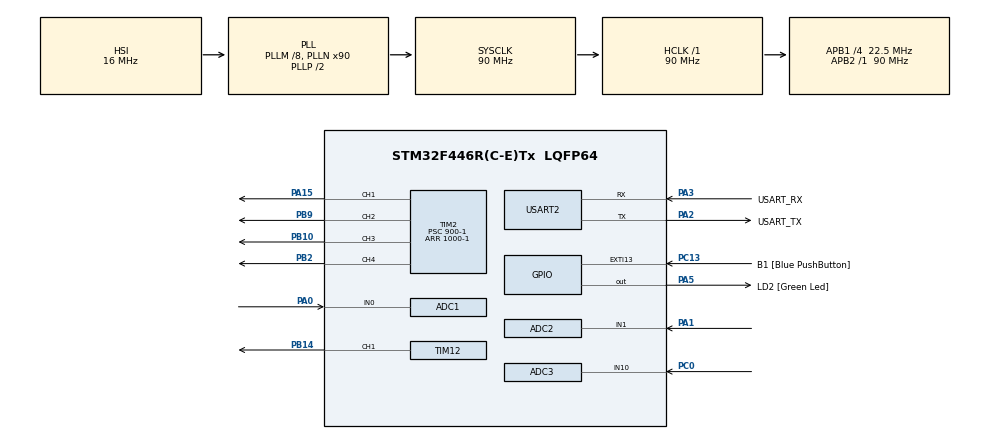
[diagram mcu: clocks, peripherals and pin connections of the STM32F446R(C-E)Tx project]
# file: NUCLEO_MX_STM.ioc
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ADC1.Channel-0\#ChannelRegularConversion=ADC_CHANNEL_0
ADC1.ClockPrescaler=ADC_CLOCK_SYNC_PCLK_DIV4
ADC1.NbrOfConversionFlag=1
ADC1.Rank-0\#ChannelRegularConversion=1
ADC1.SamplingTime-0\#ChannelRegularConversion=ADC_SAMPLETIME_3CYCLES
ADC1.master=1
ADC2.Channel-0\#ChannelRegularConversion=ADC_CHANNEL_1
ADC2.ClockPrescaler=ADC_CLOCK_SYNC_PCLK_DIV4
ADC2.NbrOfConversionFlag=1
ADC2.Rank-0\#ChannelRegularConversion=1
ADC2.SamplingTime-0\#ChannelRegularConversion=ADC_SAMPLETIME_3CYCLES
ADC3.Channel-0\#ChannelRegularConversion=ADC_CHANNEL_10
ADC3.ClockPrescaler=ADC_CLOCK_SYNC_PCLK_DIV4
ADC3.NbrOfConversionFlag=1
ADC3.Rank-0\#ChannelRegularConversion=1
ADC3.SamplingTime-0\#ChannelRegularConversion=ADC_SAMPLETIME_3CYCLES
Mcu.Family=STM32F4
Mcu.Name=STM32F446R(C-E)Tx
Mcu.Package=LQFP64
NVIC.ADC_IRQn=true\:0\:0\:false\:false\:true\:true\:true\:true
NVIC.PriorityGroup=NVIC_PRIORITYGROUP_0
NVIC.TIM1_TRG_COM_TIM11_IRQn=true\:0\:0\:false\:false\:true\:true\:true\:true
NVIC.TIM1_UP_TIM10_IRQn=true\:0\:0\:false\:false\:true\:true\:true\:true
NVIC.TIM2_IRQn=true\:0\:1\:false\:false\:true\:true\:true\:true
NVIC.TIM8_BRK_TIM12_IRQn=true\:0\:1\:false\:false\:true\:true\:true\:true
NVIC.TIM8_TRG_COM_TIM14_IRQn=true\:0\:0\:false\:false\:true\:true\:true\:true
NVIC.TIM8_UP_TIM13_IRQn=true\:0\:0\:false\:false\:true\:true\:true\:true
NVIC.USART2_IRQn=true\:0\:0\:false\:false\:true\:true\:true\:true
PA0-WKUP.Signal=ADCx_IN0
PA1.Signal=ADCx_IN1
PA13.GPIO_Label=TMS
PA13.Mode=Serial_Wire
PA13.Signal=SYS_JTMS-SWDIO
PA14.GPIO_Label=TCK
PA14.Mode=Serial_Wire
PA14.Signal=SYS_JTCK-SWCLK
PA15.Signal=S_TIM2_CH1_ETR
PA2.GPIO_Label=USART_TX
PA2.Mode=Asynchronous
PA2.Signal=USART2_TX
PA3.GPIO_Label=USART_RX
PA3.Mode=Asynchronous
PA3.Signal=USART2_RX
PA5.GPIO_Label=LD2 [Green Led]
PA5.Signal=GPIO_Output
PB10.Signal=S_TIM2_CH3
PB14.Signal=S_TIM12_CH1
PB2.Signal=S_TIM2_CH4
PB3.GPIO_Label=SWO
PB3.Signal=SYS_JTDO-SWO
PB9.Signal=S_TIM2_CH2
PC0.Signal=ADCx_IN10
PC13.GPIO_Label=B1 [Blue PushButton]
PC13.GPIO_ModeDefaultEXTI=GPIO_MODE_IT_FALLING
PC13.Signal=GPXTI13
PC14-OSC32_IN.Mode=LSE-External-Oscillator
PC14-OSC32_IN.Signal=RCC_OSC32_IN
PC15-OSC32_OUT.Mode=LSE-External-Oscillator
PC15-OSC32_OUT.Signal=RCC_OSC32_OUT
PH0-OSC_IN.Mode=HSE-External-Oscillator
PH0-OSC_IN.Signal=RCC_OSC_IN
PH1-OSC_OUT.Mode=HSE-External-Oscillator
PH1-OSC_OUT.Signal=RCC_OSC_OUT
ProjectManager.HeapSize=0x800
ProjectManager.StackSize=0x800
ProjectManager.TargetToolchain=STM32CubeIDE
RCC.AHBFreq_Value=90000000
RCC.APB1CLKDivider=RCC_HCLK_DIV4
RCC.APB1Freq_Value=22500000
RCC.APB1TimFreq_Value=45000000
RCC.APB2Freq_Value=90000000
RCC.APB2TimFreq_Value=90000000
RCC.CortexFreq_Value=90000000
RCC.FLatency-AdvancedSettings=FLASH_LATENCY_2
RCC.HCLKFreq_Value=90000000
RCC.HSE_VALUE=8000000
RCC.HSI_VALUE=16000000
RCC.PLLM=8
RCC.PLLN=90
RCC.SYSCLKFreq_VALUE=90000000
RCC.SYSCLKSource=RCC_SYSCLKSOURCE_PLLCLK
RCC.USBFreq_Value=90000000
RCC.VCOOutputFreq_Value=180000000
SH.ADCx_IN0.0=ADC1_IN0,IN0
SH.ADCx_IN1.0=ADC2_IN1,IN1
SH.ADCx_IN10.0=ADC3_IN10,IN10
SH.S_TIM12_CH1.0=TIM12_CH1,PWM Generation1 CH1
SH.S_TIM2_CH1_ETR.0=TIM2_CH1,PWM Generation1 CH1
SH.S_TIM2_CH2.0=TIM2_CH2,PWM Generation2 CH2
SH.S_TIM2_CH3.0=TIM2_CH3,PWM Generation3 CH3
SH.S_TIM2_CH4.0=TIM2_CH4,PWM Generation4 CH4
STMicroelectronics.X-CUBE-AI.8.0.1.ActivationBufferSizeList=44
STMicroelectronics.X-CUBE-AI.8.0.1.ActivationBuffers=pool0
STMicroelectronics.X-CUBE-AI.8.0.1.ActivationNames=pool0
STMicroelectronics.X-CUBE-AI.8.0.1.ActivationSizes=AI_NETWORK_DATA_ACTIVATION_1_SIZE
STMicroelectronics.X-CUBE-AI.8.0.1.HeapSize=0x800
STMicroelectronics.X-CUBE-AI.8.0.1.InternalRamActivationBufferMaxSize=AI_NETWORK_DATA_ACTIVATIONS_SIZE
STMicroelectronics.X-CUBE-AI.8.0.1.LatestDirectoryUsed-1d784fe00bc8c9b778a078fc7641ee5ba486a1559fe29472954857f1d0981ca2=F\:\\Graduation Project\\Model
STMicroelectronics.X-CUBE-AI.8.0.1.MaximumNumberOfInputLayer=1
STMicroelectronics.X-CUBE-AI.8.0.1.MaximumNumberOfOutputLayer=1
STMicroelectronics.X-CUBE-AI.8.0.1.MaximumSizeOfInputLayer=1
STMicroelectronics.X-CUBE-AI.8.0.1.MaximumSizeOfOutputLayer=1
STMicroelectronics.X-CUBE-AI.8.0.1.ModelActualCompression-1d784fe00bc8c9b778a078fc7641ee5ba486a1559fe29472954857f1d0981ca2=0.0
STMicroelectronics.X-CUBE-AI.8.0.1.ModelCompression-1d784fe00bc8c9b778a078fc7641ee5ba486a1559fe29472954857f1d0981ca2=None
STMicroelectronics.X-CUBE-AI.8.0.1.ModelFlashOccupation-1d784fe00bc8c9b778a078fc7641ee5ba486a1559fe29472954857f1d0981ca2=30884
STMicroelectronics.X-CUBE-AI.8.0.1.ModelHashList=1d784fe00bc8c9b778a078fc7641ee5ba486a1559fe29472954857f1d0981ca2
STMicroelectronics.X-CUBE-AI.8.0.1.ModelKind-1d784fe00bc8c9b778a078fc7641ee5ba486a1559fe29472954857f1d0981ca2=KERAS
STMicroelectronics.X-CUBE-AI.8.0.1.ModelMacc-1d784fe00bc8c9b778a078fc7641ee5ba486a1559fe29472954857f1d0981ca2=56
STMicroelectronics.X-CUBE-AI.8.0.1.ModelName-1d784fe00bc8c9b778a078fc7641ee5ba486a1559fe29472954857f1d0981ca2=network
STMicroelectronics.X-CUBE-AI.8.0.1.ModelNameList=network
STMicroelectronics.X-CUBE-AI.8.0.1.ModelRamOccupation-1d784fe00bc8c9b778a078fc7641ee5ba486a1559fe29472954857f1d0981ca2=44
STMicroelectronics.X-CUBE-AI.8.0.1.ModelStructureFile-1d784fe00bc8c9b778a078fc7641ee5ba486a1559fe29472954857f1d0981ca2=F\:\\Graduation Project\\Model\\model_6_7.h5
STMicroelectronics.X-CUBE-AI.8.0.1.ModelType-1d784fe00bc8c9b778a078fc7641ee5ba486a1559fe29472954857f1d0981ca2=Saved model
STMicroelectronics.X-CUBE-AI.8.0.1.ReadyForCodeGeneration=true
STMicroelectronics.X-CUBE-AI.8.0.1.StackSize=0x800
STMicroelectronics.X-CUBE-AI.8.0.1.WorkingBufferStartAddrList=0xFFFFFFFF
STMicroelectronics.X-CUBE-AI.8.0.1.XAaCUBEAaAICcArtificialOoIntelligenceJjCore=true
STMicroelectronics.X-CUBE-AI.8.0.1.copyWeightToRam-1d784fe00bc8c9b778a078fc7641ee5ba486a1559fe29472954857f1d0981ca2=false
STMicroelectronics.X-CUBE-AI.8.0.1.customLayerConfigEnabled-1d784fe00bc8c9b778a078fc7641ee5ba486a1559fe29472954857f1d0981ca2=false
STMicroelectronics.X-CUBE-AI.8.0.1.useInputAllocation-1d784fe00bc8c9b778a078fc7641ee5ba486a1559fe29472954857f1d0981ca2=true
STMicroelectronics.X-CUBE-AI.8.0.1.useOutputAllocation-1d784fe00bc8c9b778a078fc7641ee5ba486a1559fe29472954857f1d0981ca2=true
TIM12.Channel-PWM\ Generation1\ CH1=TIM_CHANNEL_1
TIM2.AutoReloadPreload=TIM_AUTORELOAD_PRELOAD_ENABLE
TIM2.Channel-PWM\ Generation1\ CH1=TIM_CHANNEL_1
TIM2.Channel-PWM\ Generation2\ CH2=TIM_CHANNEL_2
TIM2.Channel-PWM\ Generation3\ CH3=TIM_CHANNEL_3
TIM2.Channel-PWM\ Generation4\ CH4=TIM_CHANNEL_4
TIM2.Period=1000-1
TIM2.Prescaler=900-1
USART2.VirtualMode=VM_ASYNC
VP_CRC_VS_CRC.Mode=CRC_Activate
VP_STMicroelectronics.X-CUBE-AI_VS_ArtificialOoIntelligenceJjXAaCUBEAaAI_8.0.1.Mode=ArtificialOoIntelligenceJjXAaCUBEAaAI
VP_TIM10_VS_ClockSourceINT.Mode=Enable_Timer
VP_TIM11_VS_ClockSourceINT.Mode=Enable_Timer
VP_TIM12_VS_ClockSourceINT.Mode=Internal
VP_TIM13_VS_ClockSourceINT.Mode=Enable_Timer
VP_TIM14_VS_ClockSourceINT.Mode=Enable_Timer
VP_TIM2_VS_ClockSourceINT.Mode=Internal
board=NUCLEO-F446RE

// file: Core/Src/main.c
/* USER CODE BEGIN Header */
/**
 **************************
 * @file           : main.c
 * @brief          : Main program body
 **************************
 * @attention
 *
 * Copyright (c) 2023 STMicroelectronics.
 * All rights reserved.
 *
 * This software is licensed under terms that can be found in the LICENSE file
 * in the root directory of this software component.
 * If no LICENSE file comes with this software, it is provided AS-IS.
 *
 **************************
 */
/* USER CODE END Header */
#include "main.h"
#include "adc.h"
#include "crc.h"
#include "tim.h"
#include "usart.h"
#include "gpio.h"

/* USER CODE BEGIN Includes */
#include "PWM.h"
#include "MAPPING.h"
#include "servo.h"
#include "FEAT_EXT.h"
#include "NORM_interface.h"

#include "sensor_readings.h"
#include "app_x-cube-ai.h"

#include <stdio.h>

#include "network.h"
#include "network_data.h"
/* USER CODE END Includes */

/* USER CODE BEGIN PTD */
typedef enum
{
	RMS_IDX,
	VAR_IDX,
	MEAN_IDX,
	SSC_INDX,
	ZC_IDX,
	WVL_IDX
}Model_Idx;

/* USER CODE END PTD */

/* USER CODE BEGIN PD */
#define Vth 				40

#define MODEL_THRESHOLD		0.5

/* USER CODE END PD */

/* USER CODE BEGIN PV */
uint32_t sensor1;
uint32_t sensor2;
uint32_t sensor3;
uint32_t sensor;
uint32_t Fest,Gun;
float Local_f32Avg = 0;
int32_t Mode = 0;
/* USER CODE END PV */

void SystemClock_Config(void);

/* USER CODE BEGIN 0 */
void HAL_TIM_PeriodElapsedCallback(TIM_HandleTypeDef *htim)
{
	if (htim->Instance == TIM10)
	{
		HAL_GPIO_TogglePin(GPIOA, GPIO_PIN_5);
	}
	else if (htim->Instance == TIM11)
	{
		HAL_GPIO_TogglePin(GPIOA, GPIO_PIN_5);
	}

	else if (htim->Instance == TIM13)
	{
		HAL_GPIO_TogglePin(GPIOA, GPIO_PIN_5);
	}
	else if (htim->Instance == TIM14)
	{
		HAL_GPIO_TogglePin(GPIOA, GPIO_PIN_5);
	}
}

/********	Global Variables	********/
static ai_handle network = AI_HANDLE_NULL;

AI_ALIGNED(32)
static ai_u8 activations[AI_NETWORK_DATA_ACTIVATIONS_SIZE];

AI_ALIGNED(32)
static ai_float in_data[AI_NETWORK_IN_1_SIZE];

AI_ALIGNED(32)
static ai_float out_data[AI_NETWORK_OUT_1_SIZE];

static ai_buffer *ai_input;
static ai_buffer *ai_output;

int Model_Init(void)
{
	ai_error err;
	const ai_handle acts[] = { activations };
	err = ai_network_create_and_init(&network, acts, NULL);

	ai_input = ai_network_inputs_get(network, NULL);
	ai_output = ai_network_outputs_get(network, NULL);

	return 0;
}

int Model_Run(const void *in_data, void *out_data)
{
	ai_i32 n_batch;
	ai_error err;

	/* 1 - Update IO handlers with the data payload */
	ai_input[0].data = AI_HANDLE_PTR(in_data);
	ai_output[0].data = AI_HANDLE_PTR(out_data);

	/* 2 - Perform the inference */
	n_batch = ai_network_run(network, &ai_input[0], &ai_output[0]);
	if (n_batch != 1) {
		err = ai_network_get_error(network);
	};

	return 0;
}
/* USER CODE END 0 */

int main(void)
{
  /* USER CODE BEGIN 1 */
	uint32_t Local_u32Counter,Local_u32_RealData[250],Local_u32AvgCounter;
  /* USER CODE END 1 */

  /* MCU Configuration--------------------------------------------------------*/

  /* Reset of all peripherals, Initializes the Flash interface and the Systick. */
  HAL_Init();

  /* Configure the system clock */
  SystemClock_Config();

  /* Initialize all configured peripherals */
  MX_GPIO_Init();
  MX_ADC1_Init();
  MX_ADC2_Init();
  MX_ADC3_Init();
  MX_TIM2_Init();
  MX_TIM10_Init();
  MX_TIM11_Init();
  MX_TIM12_Init();
  MX_TIM13_Init();
  MX_TIM14_Init();
  MX_USART2_UART_Init();
  MX_CRC_Init();
  /* USER CODE BEGIN 2 */
	Model_Init();

	/* Start GPs Timers */
	HAL_TIM_Base_Start_IT(&htim10);
	HAL_TIM_Base_Start_IT(&htim11);
	HAL_TIM_Base_Start_IT(&htim13);
	HAL_TIM_Base_Start_IT(&htim14);

	/* Initialize PWM Timers*/
	HAL_TIM_PWM_Start(&htim2, TIM_CHANNEL_1);
	HAL_TIM_PWM_Start(&htim2, TIM_CHANNEL_2);
	HAL_TIM_PWM_Start(&htim2, TIM_CHANNEL_3);
	HAL_TIM_PWM_Start(&htim2, TIM_CHANNEL_4);
	HAL_TIM_PWM_Start(&htim12, TIM_CHANNEL_1);

	SERVO_t Servo1;
	Servo1.Pin = Servo_PB9;

	/*********	Testing	*********/
	uint32_t Data0[250] = {
			0   , 0  , 0  , 0  , 96 , 94 , 0  , 3  , 5   , 20  ,
			0   , 0  , 5  , 0  , 0  , 8  , 0  , 0  , 0   , 0   ,
			0   , 0  , 28 , 0  , 0  , 0  , 13 , 0  , 43  , 1023,
			0   , 0  , 0  , 0  , 0  , 0  , 224, 11 , 0   , 0   ,
			0   , 0  , 232, 411, 0  , 0  , 0  , 0  , 0   , 3   ,
			0   , 0  , 9  , 0  , 0  , 0  , 0  , 0  , 0   , 0   ,
			0   , 0  , 0  , 0  , 0  , 0  , 0  , 0  , 1   , 0   ,
			447 , 343, 0  , 0  , 0  , 182, 27 , 24 , 577 , 0   ,
			0   , 8  , 488, 8  , 0  , 10 , 0  , 0  , 0   , 64  ,
			0   , 0  , 0  , 0  , 0  , 0  , 0  , 0  , 0   , 0   ,
			0   , 0  , 88 , 0  , 0  , 0  , 34 , 0  , 0   , 0   ,
			0   , 452, 0  , 769, 0  , 0  , 0  , 0  , 11  , 0   ,
			1023, 0  , 0  , 13 , 19 , 0  , 36 , 172, 0   , 1023,
			0   , 0  , 0  , 0  , 437, 0  , 0  , 0  , 0   , 0   ,
			99  , 183, 0  , 0  , 0  , 0  , 300, 0  , 0   , 0   ,
			0   , 0  , 0  , 0  ,32  , 0  , 0  , 0  , 0   , 156 ,
			139 , 0  , 0  , 0  , 0  , 0  , 0  , 0  , 1023, 11  ,
			0   , 0  , 9  , 0  , 0  , 0  , 0  , 0  , 30  , 188 ,
			33  , 75 , 0  , 13 , 0  , 0  , 0  , 0  , 0   , 35  ,
			233 , 0  , 0  , 0  , 0  , 0  , 0  , 0  , 0   , 1   ,
			0   , 138, 0  , 0  , 0  , 0  , 0  , 0  , 0   , 0   ,
			0   , 606, 197, 76 , 0  , 104, 0  , 232, 24  , 0   ,
			1023, 132, 0  , 0  , 0  , 0  , 0  , 0  , 0   , 14  ,
			0   , 0  , 0  , 0  , 89 , 7  , 0  , 32 , 0   , 72  ,
			227 , 12 , 0  , 0  , 0  , 9  , 640, 58 , 0   , 0   };

	uint32_t Data1[250] = {
			0	,0	,0	,0	,0	,0	,1	,0	,0	,0	,0	,0	,0
			,0	,0	,0	,0	,0	,0	,0	,0	,0	,0	,0	,0	,0
			,0	,0	,0	,0	,0	,0	,52	,148,75	,0	,163,17	,70
			,156,37	,0	,59	,184,50	,227,0	,0	,17	,114,0  ,0
			,128,96	,0	,31 ,5	,104,20	,8	,0	,0	,63	,62	,0
			,23	,16	,129,118,13	,162,216,18	,0	,163,81	,246,0
			,52	,5	,82	,0	,44	,60	,180,169,77	,0	,147,149,0
			,22	,192,88 ,16	,0	,49	,0	,73	,45	,122,0	,113,103
			,106,0  ,0  ,19	,0  ,0	,0	,0	,39	,0	,0	,0	,0
			,0	,0	,22 ,0	,0	,30	,64	,0	,0	,74	,0	,0	,0
			,3	,0	,0	,0	,20	,13	,0  ,0	,0	,0	,0	,0	,5
			,0	,0	,0	,0	,0	,0	,0	,0	,0	,0	,0	,0	,0
			,0	,0	,0	,0	,0	,0	,0	,0	,0	,0	,0	,0	,0
			,0  ,0	,0	,0	,0	,0	,0	,0	,0	,0	,0	,0	,0
			,0	,0	,0	,19	,0	,0	,0	,11	,0	,0	,0  ,0	,0
			,0	,0	,0	,0	,0	,0	,0	,0	,0	,0  ,0	,0	,0
			,0	,0	,0	,0	,0	,0	,0	,0	,7	,0	,27	,17	,0
			,0	,51	,0	,90	,95	,0	,98	,0	,5	,0	,79	,0	,55
			,47	,86	,41	,0  ,0	,67	,137,74	,31	,117,0	,33	,0
			,176,2,134
	};
	uint32_t Test[250] = {664,  167,   13,   82,  340,  865,  469,  663,  144,  316,   15,
			356,  513,  560,  258,  108,  409,  456,  110,  383,  240,  227,
			314,  866, 1667,  156,  419,  760,   32,  441,  432,  307,  294,
			169,  234,  436,  703,  391,   82,  345,  100,  131,   58,  362,
			222,  323,   47,   41,   40,  273,  141,  405,  805,  471,  468,
			11,  127,  344,  178,  107,    5,  329,   80,   46,  190,    5,
			411,   64,   65,  180,  133,  367,  590,  196,   61,   11,  170,
			144,  454,  460,  188,  431,  112,  375,  208,  198,  139,    2,
			131,   52,   39,  155,   38,  137,  289,  535,  144,  305,  387,
			163, 1396,   43,  178,  219,  563,  268,  846,   62,  224,   37,
			318,  126,  535,  126,  221,  123,   41,    4,  100,  156,  514,
			145,  116,  159,   29,  171,   39,   66,  182,  332,   63,   85,
			7,  112,   58,   81,  130,  192,  198,  609,   57,  108,   15,
			106,  111,   92,   55,  100,  207,   88,  228,  254,   98,  250,
			63,    4,   80,  271,  228,   11,    1,   71,   95,   15,  656,
			275,  164,  150,  729,   85,   54,   71,   44,   34,   93,  220,
			86,  309,  428,   39,  285,  440,   86,  203,  254,   79,  156,
			12,  582,  275,  235,  481,   99,  190,    2,   93,  176,   96,
			250,  333,  269,   94,  346,  757,   43,  475,  179,  474,  198,
			227,  353,  159,   27,  233,   95,  407,  248,  152,  249,   68,
			276,   79,    5,  217,   95,   29,    8,  104,   20,  156,  189,
			146,   93,  125,   96,    5,  160,   51, 1495, 1831,   71,  599,
			181,  250,  219,  246,   47,  213,   23,  225};
	float Feat_Arr[6],Norm_Arr[6];

	/*Feature Extraction*/
	Feat_Arr[VAR_IDX]	= FEAT_EXT_f32_Variance(Test,250);
	Feat_Arr[RMS_IDX]   = FEAT_EXT_f32_RMS(Feat_Arr[VAR_IDX]);
	Feat_Arr[MEAN_IDX]  = FEAT_EXT_f32_MeanAbsolute(Test,250);
	Feat_Arr[SSC_INDX]  = FEAT_EXT_u32_SlopeSignChange(Test,250);
	Feat_Arr[ZC_IDX]    = FEAT_EXT_u32_ZeroCrossing(Test,250);
	Feat_Arr[WVL_IDX]   = FEAT_EXT_u32_WaveformLength(Test,250);

	/*Normalization*/
	Norm_Arr[VAR_IDX]  = NORM_f32_Variance(SNS1, Feat_Arr[VAR_IDX]);
	Norm_Arr[RMS_IDX]  = NORM_f32_RMS(SNS1, Feat_Arr[RMS_IDX]);
	Norm_Arr[MEAN_IDX] = NORM_f32_Mean(SNS1, Feat_Arr[MEAN_IDX]);
	Norm_Arr[SSC_INDX] = NORM_f32_SlopeSignChange(SNS1,Feat_Arr[SSC_INDX]);
	Norm_Arr[ZC_IDX]   = NORM_f32_ZeroCrossing(SNS1,Feat_Arr[ZC_IDX]);
	Norm_Arr[WVL_IDX]  = NORM_f32_WaveformLength(SNS1, Feat_Arr[WVL_IDX]);

	/*Model Running*/

	/*Movement 1 Data*/
	in_data[RMS_IDX]  = Norm_Arr[RMS_IDX];
	in_data[VAR_IDX]  = Norm_Arr[VAR_IDX];
	in_data[MEAN_IDX] = Norm_Arr[MEAN_IDX];
	in_data[SSC_INDX] = Norm_Arr[SSC_INDX];
	in_data[ZC_IDX]   = Norm_Arr[ZC_IDX];
	in_data[WVL_IDX]  = Norm_Arr[WVL_IDX];

	Model_Run(in_data, out_data);

	if(*out_data < MODEL_THRESHOLD)
	{
		Servo_void_SetAngle(Servo1,180);
		Fest = 100;
		Gun = 0;

	}
	else
	{
		Servo_void_SetAngle(Servo1,90);
		Fest = 0;
		Gun = 100;
	}
  /* USER CODE END 2 */

  /* Infinite loop */
	while (1)
	{

    /* USER CODE BEGIN 3 */
		for(Local_u32AvgCounter = 0 ; Local_u32AvgCounter < 3; Local_u32AvgCounter++)
		{
			for(Local_u32Counter = 0 ;Local_u32Counter < 250;)
			{
				sensor = analogRead(&hadc1);
				HAL_Delay(2);
				if(sensor != 0)
				{
					Local_u32_RealData[Local_u32Counter++] = sensor;
				}
			}
			/*Feature Extraction*/
			Feat_Arr[VAR_IDX]	= FEAT_EXT_f32_Variance(Local_u32_RealData,250);
			Feat_Arr[RMS_IDX]   = FEAT_EXT_f32_RMS(Feat_Arr[VAR_IDX]);
			Feat_Arr[MEAN_IDX]  = FEAT_EXT_f32_MeanAbsolute(Local_u32_RealData,250);
			Feat_Arr[SSC_INDX]  = FEAT_EXT_u32_SlopeSignChange(Local_u32_RealData,250);
			Feat_Arr[ZC_IDX]    = FEAT_EXT_u32_ZeroCrossing(Local_u32_RealData,250);
			Feat_Arr[WVL_IDX]   = FEAT_EXT_u32_WaveformLength(Local_u32_RealData,250);

			/*Normalization*/
			Norm_Arr[VAR_IDX]  = NORM_f32_Variance(SNS1, Feat_Arr[VAR_IDX]);
			Norm_Arr[RMS_IDX]  = NORM_f32_RMS(SNS1, Feat_Arr[RMS_IDX]);
			Norm_Arr[MEAN_IDX] = NORM_f32_Mean(SNS1, Feat_Arr[MEAN_IDX]);
			Norm_Arr[SSC_INDX] = NORM_f32_SlopeSignChange(SNS1,Feat_Arr[SSC_INDX]);
			Norm_Arr[ZC_IDX]   = NORM_f32_ZeroCrossing(SNS1,Feat_Arr[ZC_IDX]);
			Norm_Arr[WVL_IDX]  = NORM_f32_WaveformLength(SNS1, Feat_Arr[WVL_IDX]);

			/*Model Running*/

			/*Movement 1 Data*/
			in_data[RMS_IDX]  = Norm_Arr[RMS_IDX];
			in_data[VAR_IDX]  = Norm_Arr[VAR_IDX];
			in_data[MEAN_IDX] = Norm_Arr[MEAN_IDX];
			in_data[SSC_INDX] = Norm_Arr[SSC_INDX];
			in_data[ZC_IDX]   = Norm_Arr[ZC_IDX];
			in_data[WVL_IDX]  = Norm_Arr[WVL_IDX];

			Model_Run(in_data, out_data);

			if(*out_data < MODEL_THRESHOLD)
			{
				Servo_void_SetAngle(Servo1,180);
				Mode--;

			}
			else
			{
				Servo_void_SetAngle(Servo1,90);
				Mode++;
			}
		}

		if(Mode < 0)
		{
			Fest = 100;
			Gun = 0;
		}
		else
		{
			Fest = 0;
			Gun = 100;
		}

		HAL_Delay(500);
		Mode = 0;

	}
  /* USER CODE END 3 */
}

void SystemClock_Config(void)
{
  RCC_OscInitTypeDef RCC_OscInitStruct = {0};
  RCC_ClkInitTypeDef RCC_ClkInitStruct = {0};

  /** Configure the main internal regulator output voltage
  */
  __HAL_RCC_PWR_CLK_ENABLE();
  __HAL_PWR_VOLTAGESCALING_CONFIG(PWR_REGULATOR_VOLTAGE_SCALE3);

  /** Initializes the RCC Oscillators according to the specified parameters
  * in the RCC_OscInitTypeDef structure.
  */
  RCC_OscInitStruct.OscillatorType = RCC_OSCILLATORTYPE_HSI;
  RCC_OscInitStruct.HSIState = RCC_HSI_ON;
  RCC_OscInitStruct.HSICalibrationValue = RCC_HSICALIBRATION_DEFAULT;
  RCC_OscInitStruct.PLL.PLLState = RCC_PLL_ON;
  RCC_OscInitStruct.PLL.PLLSource = RCC_PLLSOURCE_HSI;
  RCC_OscInitStruct.PLL.PLLM = 8;
  RCC_OscInitStruct.PLL.PLLN = 90;
  RCC_OscInitStruct.PLL.PLLP = RCC_PLLP_DIV2;
  RCC_OscInitStruct.PLL.PLLQ = 2;
  RCC_OscInitStruct.PLL.PLLR = 2;
  if (HAL_RCC_OscConfig(&RCC_OscInitStruct) != HAL_OK)
  {
    Error_Handler();
  }

  /** Initializes the CPU, AHB and APB buses clocks
  */
  RCC_ClkInitStruct.ClockType = RCC_CLOCKTYPE_HCLK|RCC_CLOCKTYPE_SYSCLK
                              |RCC_CLOCKTYPE_PCLK1|RCC_CLOCKTYPE_PCLK2;
  RCC_ClkInitStruct.SYSCLKSource = RCC_SYSCLKSOURCE_PLLCLK;
  RCC_ClkInitStruct.AHBCLKDivider = RCC_SYSCLK_DIV1;
  RCC_ClkInitStruct.APB1CLKDivider = RCC_HCLK_DIV4;
  RCC_ClkInitStruct.APB2CLKDivider = RCC_HCLK_DIV1;

  if (HAL_RCC_ClockConfig(&RCC_ClkInitStruct, FLASH_LATENCY_2) != HAL_OK)
  {
    Error_Handler();
  }
}

void Error_Handler(void)
{
	__disable_irq();
	while (1)
	{
	}
}
